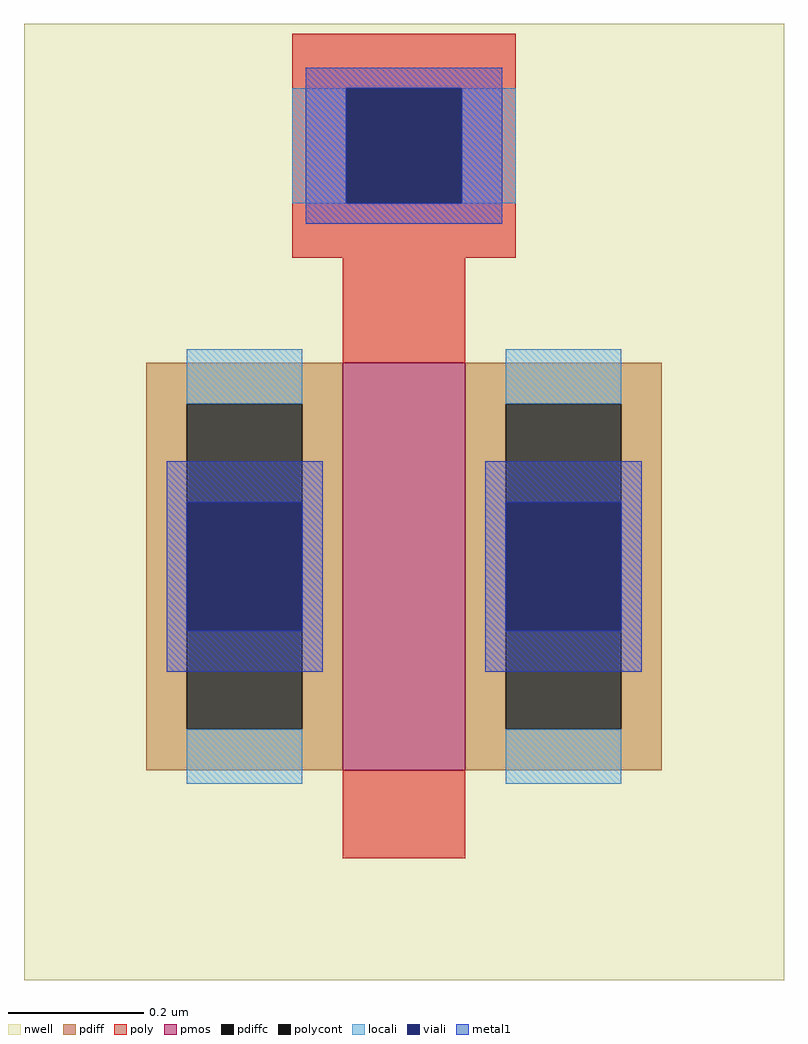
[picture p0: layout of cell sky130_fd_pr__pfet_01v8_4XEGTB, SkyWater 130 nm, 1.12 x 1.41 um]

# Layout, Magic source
magic
tech sky130A
magscale 1 2
<< nwell >>
rect -112 -158 112 124
<< pmos >>
rect -18 -96 18 24
<< pdiff >>
rect -76 12 -18 24
rect -76 -84 -64 12
rect -30 -84 -18 12
rect -76 -96 -18 -84
rect 18 12 76 24
rect 18 -84 30 12
rect 64 -84 76 12
rect 18 -96 76 -84
<< pdiffc >>
rect -64 -84 -30 12
rect 30 -84 64 12
<< poly >>
rect -33 105 33 121
rect -33 71 -17 105
rect 17 71 33 105
rect -33 55 33 71
rect -18 24 18 55
rect -18 -122 18 -96
<< polycont >>
rect -17 71 17 105
<< locali >>
rect -33 71 -17 105
rect 17 71 33 105
rect -64 12 -30 28
rect -64 -100 -30 -84
rect 30 12 64 28
rect 30 -100 64 -84
<< viali >>
rect -17 71 17 105
rect -64 -55 -30 -17
rect 30 -55 64 -17
<< metal1 >>
rect -29 105 29 111
rect -29 71 -17 105
rect 17 71 29 105
rect -29 65 29 71
rect -70 -17 -24 -5
rect -70 -55 -64 -17
rect -30 -55 -24 -17
rect -70 -67 -24 -55
rect 24 -17 70 -5
rect 24 -55 30 -17
rect 64 -55 70 -17
rect 24 -67 70 -55
<< properties >>
string gencell sky130_fd_pr__pfet_01v8
string library sky130
string parameters w 0.6 l 0.18 m 1 nf 1 diffcov 100 polycov 100 guard 0 glc 0 grc 0 gtc 1 gbc 1 tbcov 100 rlcov 100 topc 1 botc 0 poverlap 0 doverlap 1 lmin 0.15 wmin 0.42 compatible {sky130_fd_pr__pfet_01v8  sky130_fd_pr__pfet_01v8_lvt sky130_fd_pr__pfet_01v8_hvt  sky130_fd_pr__pfet_g5v0d10v5} full_metal 0 viasrc 40 viadrn 40 viagate 100 viagb 0 viagr 0 viagl 0 viagt 80
<< end >>
